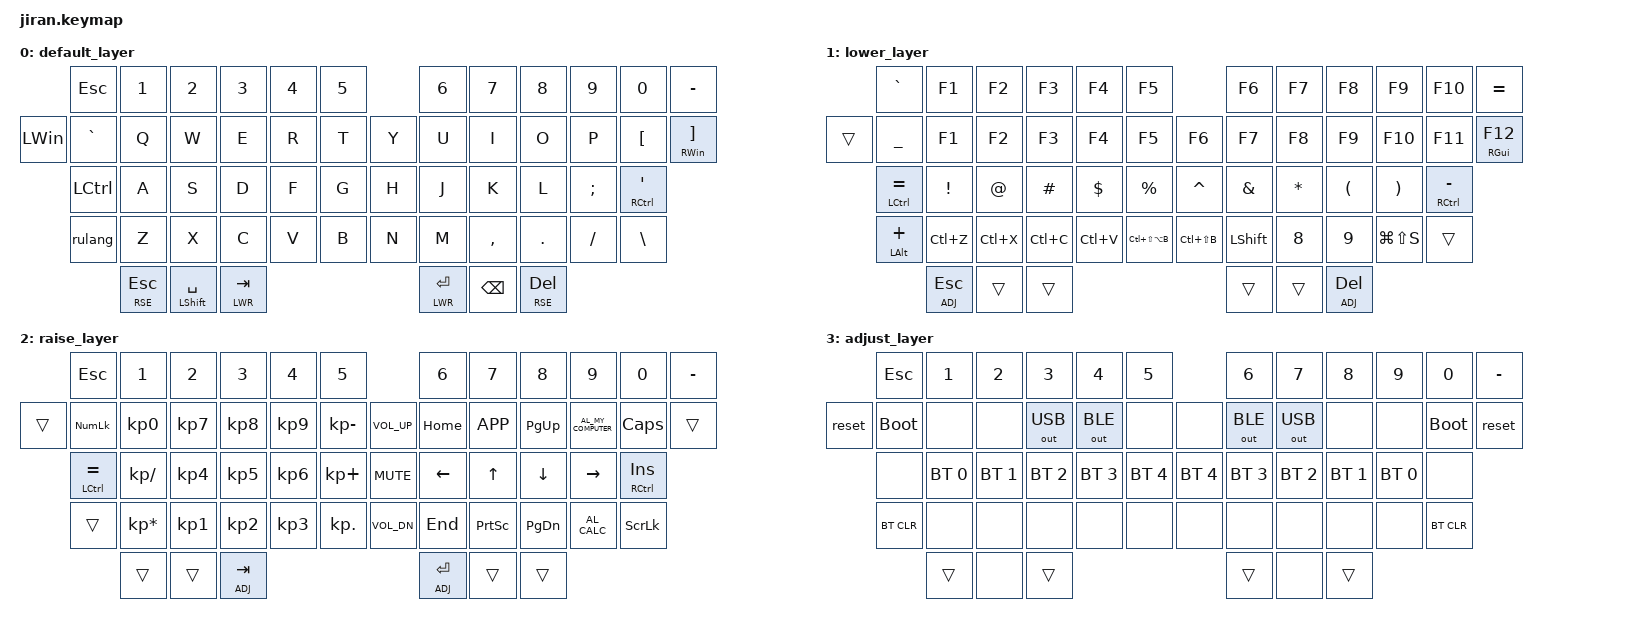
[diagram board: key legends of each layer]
/*
 * Copyright (c) 2021 The ZMK Contributors
 *
 * SPDX-License-Identifier: MIT
 */

#include <behaviors.dtsi>
#include <dt-bindings/zmk/keys.h>
#include <dt-bindings/zmk/bt.h>
#include <dt-bindings/zmk/outputs.h>

#define DEF 0
#define LWR 1
#define RSE 2
#define ADJ 3

&lt { quick_tap_ms = <200>; };
&mt { quick_tap_ms = <200>; };

/ {
        behaviors {
                rulang: russian_language {
                compatible = "zmk,behavior-mod-morph";
                label = "RUS_LANG";
                #binding-cells = <0>;
                bindings = <&kp LALT>, <&kp LC(N1)>;
                mods = <(MOD_LSFT|MOD_RSFT)>;
                };
                // enlang: english_language {
                // compatible = "zmk,behavior-mod-morph";
                // label = "EN_LANG";
                // #binding-cells = <0>;
                // bindings = <&mt RALT BSLH>, <&kp LC(N2)>;
                // mods = <(MOD_LSFT|MOD_RSFT)>;
                // };
        };
        combos {
                compatible = "zmk,combos";
                combo_eng {
                    timeout-ms = <200>;
                    key-positions = <49 54>;
                    layers = <DEF>;
                    bindings = <&kp LC(LS(N2))>;
                };
        };
        keymap {
                compatible = "zmk,keymap";

                default_layer {
// -----------------------------------------------------------------------------------------
// |  GUI |   ~  |  Q  |  W  |  E  |  R  |  T  |   |  Y  |  U   |  I  |  O  |  P  |  [   | GUI/] |
//        | CTRL |  A  |  S  |  D  |  F  |  G  |   |  H  |  J   |  K  |  L  |  ;  |CTRL/'|
//        | LALT |  Z  |  X  |  C  |  V  |  B  |   |  N  |  M   |  ,  |  .  |  /  | RALT |
//                    | ESC | SPC | TAB |   | ENT | BSPC | DEL |
                        bindings = <
            &kp ESC   &kp N1 &kp N2 &kp N3 &kp N4 &kp N5          &kp N6 &kp N7    &kp N8  &kp N9   &kp N0   &kp MINUS
   &kp LWIN &kp GRAVE &kp Q &kp W &kp E &kp R &kp T &kp Y         &kp U  &kp I     &kp O   &kp P    &kp LBKT &mt RWIN RBKT
            &kp LCTRL &kp A &kp S &kp D &kp F &kp G &kp H         &kp J  &kp K     &kp L   &kp SEMI &mt RCTRL SQT
            &rulang   &kp Z &kp X &kp C &kp V &kp B &kp N         &kp M  &kp COMMA &kp DOT &kp FSLH &kp BSLH
                  &lt RSE ESC &mt LSHFT SPACE &lt LWR TAB         &lt LWR RET &kp BSPC &lt RSE DEL
                        >;
                };
                lower_layer {
// -----------------------------------------------------------------------------------------
// |  ESC |  1  |  2  |  3  |  4  |  5  |   |  6  |  7  |  8  |  9  |  0  | BKSP |
// |     |  _  |  F1 |  F2 |  F3 |  F4 |  F5 |   |  F6 |  F7 |  F8 |  F9 | F10 | F11 | F12 |
//       |  =  |  !  |  @  |  #  |  $  |  %  |   |  ^  |  &  |  *  |  (  |  )  |  -  |
//       |  +  |  1  |  2  |  3  |  4  |  5  |   |  6  |  7  |  8  |  9  |  0  |     |
//                    | GUI |     | SPC |   | ENT |     | ALT |
                       bindings = <
          &kp GRAVE &kp F1 &kp F2   &kp F3   &kp F4    &kp F5      &kp F6       &kp F7    &kp F8   &kp F9    &kp F10         &kp EQUAL
   &trans &kp UNDER       &kp F1   &kp F2 &kp F3   &kp F4   &kp F5                     &kp F6    &kp F7   &kp F8   &kp F9   &kp F10  &kp F11 &mt RGUI F12
          &mt LCTRL EQUAL &kp EXCL &kp AT &kp HASH &kp DLLR &kp PRCNT                  &kp CARET &kp AMPS &kp STAR &kp LPAR &kp RPAR &mt RCTRL MINUS
          &mt LALT PLUS   &kp LC(Z) &kp LC(X) &kp LC(C) &kp LC(V) &kp LC(LS(LA(B)))    &kp LC(LS(B))    &kp LSHFT   &kp N8   &kp N9   &kp LG(LS(S))   &trans
                                              &lt ADJ ESC &trans &trans                &trans &trans &lt ADJ DEL
                       >;
                };
                raise_layer {
// -----------------------------------------------------------------------------------------
// |     | NMLK |  /  |  7  |  8  |  9  |  -  |   | VOLU| HOME| APP | PGUP|MYCOMP| CLCK|     |
//       |   =  |  *  |  4  |  5  |  6  |  +  |   | MUT | LEFT|  UP | DOWN| RGHT| INS |
//       |      |  0  |  1  |  2  |  3  |  .  |   | VOLD| END | PRSC| PGDN| CALC| SCLK|
//                          |     |     | ADJ |   | ADJ |     |     |
                        bindings = <
          &kp ESC  &kp N1 &kp N2 &kp N3 &kp N4 &kp N5    &kp N6 &kp N7  &kp N8   &kp N9  &kp N0   &kp MINUS             
   &trans &kp KP_NUM      &kp KP_N0    &kp KP_N7 &kp KP_N8 &kp KP_N9 &kp KP_MINUS        &kp C_VOL_UP &kp HOME &kp K_APP &kp PG_UP &kp C_AL_MY_COMPUTER &kp CAPS &trans
          &mt LCTRL EQUAL &kp KP_SLASH &kp KP_N4 &kp KP_N5 &kp KP_N6 &kp KP_PLUS         &kp C_MUTE   &kp LEFT &kp UP    &kp DOWN  &kp RIGHT  &mt RCTRL INS
          &trans          &kp KP_MULTIPLY &kp KP_N1 &kp KP_N2 &kp KP_N3 &kp KP_DOT          &kp C_VOL_DN &kp END  &kp PSCRN  &kp PG_DN &kp C_AL_CALC &kp SLCK
                                                           &trans &trans &lt ADJ TAB   &lt ADJ RET &trans &trans
                        >;
                };
                adjust_layer {
// -----------------------------------------------------------------------------------------
// | RST | BLDR |     |     |     |     |     |   |     |     |     |     |     | BLDR | RST |
//       | BTCLR| BT0 | BT1 | BT2 | BT3 | BT4 |   | BT4 | BT3 | BT2 | BT1 | BT0 | BTCLR|
//       |      |     |     |     |    |     |   |     |     |     |     |     |      |
//                          |     |     |     |   |     |     |     |
                        bindings = <
          &kp ESC  &kp N1 &kp N2 &kp N3 &kp N4 &kp N5                                      &kp N6 &kp N7  &kp N8   &kp N9  &kp N0   &kp MINUS                      
   &reset &bootloader  &none        &none        &out OUT_USB &out OUT_BLE &none           &none        &out OUT_BLE &out OUT_USB &none        &none         &bootloader &reset
          &none        &bt BT_SEL 0 &bt BT_SEL 1 &bt BT_SEL 2 &bt BT_SEL 3 &bt BT_SEL 4    &bt BT_SEL 4 &bt BT_SEL 3 &bt BT_SEL 2 &bt BT_SEL 1 &bt BT_SEL 0  &none
          &bt BT_CLR   &none        &none        &none        &none        &none           &none        &none        &none        &none        &none         &bt BT_CLR
                                                                    &trans &none &trans   &trans &none &trans
                        >;
                };
        };
};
